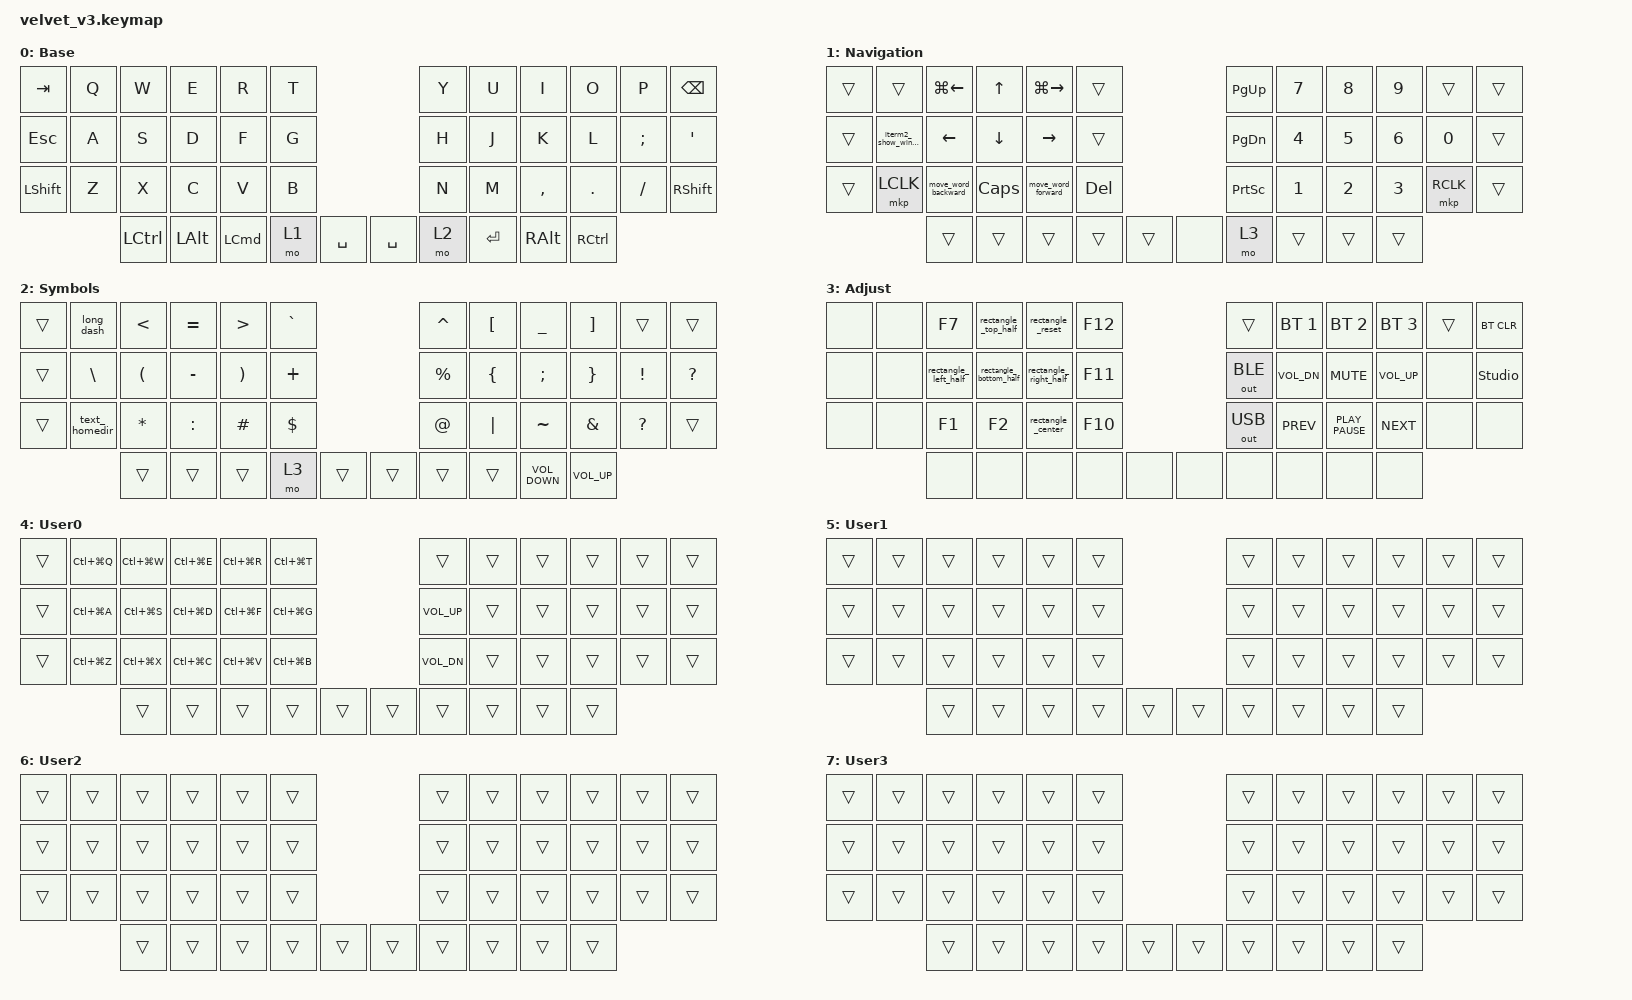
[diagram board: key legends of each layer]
#include "keys_ru.h"
#include <behaviors.dtsi>
#include <dt-bindings/zmk/bt.h>
#include <dt-bindings/zmk/keys.h>
#include <dt-bindings/zmk/outputs.h>
#include <dt-bindings/zmk/pointing.h>

/ {
    macros {
        text__homedir: text__homedir {
            compatible = "zmk,behavior-macro";
            #binding-cells = <0>;
            bindings = <&kp TILDE &kp FSLH>;
            label = "TEXT__HOMEDIR";
        };

        long_dash: long_dash {
            compatible = "zmk,behavior-macro";
            #binding-cells = <0>;
            bindings =
                <&macro_press>,
                <&kp LALT &kp LSHIFT>,
                <&macro_tap>,
                <&kp MINUS>,
                <&macro_release>,
                <&kp LSHIFT &kp LALT>;

            label = "LONG_DASH";
        };

        rectangle__left_half: rectangle__left_half {
            compatible = "zmk,behavior-macro";
            #binding-cells = <0>;
            bindings =
                <&macro_press>,
                <&kp LCTRL &kp LALT>,
                <&macro_tap>,
                <&kp LEFT_ARROW>,
                <&macro_release>,
                <&kp LALT &kp LCTRL>;

            label = "RECTANGLE__LEFT_HALF";
        };

        rectangle__bottom_half: rectangle__bottom_half {
            compatible = "zmk,behavior-macro";
            #binding-cells = <0>;
            bindings =
                <&macro_press>,
                <&kp LCTRL &kp LALT>,
                <&macro_tap>,
                <&kp DOWN_ARROW>,
                <&macro_release>,
                <&kp LALT &kp LCTRL>;

            label = "RECTANGLE__BOTTOM_HALF";
        };

        rectangle__right_half: rectangle__right_half {
            compatible = "zmk,behavior-macro";
            #binding-cells = <0>;
            bindings =
                <&macro_press>,
                <&kp LCTRL &kp LALT>,
                <&macro_tap>,
                <&kp RIGHT_ARROW>,
                <&macro_release>,
                <&kp LALT &kp LCTRL>;

            label = "RECTANGLE__RIGHT_HALF";
        };

        rectangle__top_half: rectangle__top_half {
            compatible = "zmk,behavior-macro";
            #binding-cells = <0>;
            bindings =
                <&macro_press>,
                <&kp LCTRL &kp LALT &kp LEFT_SHIFT>,
                <&macro_tap>,
                <&kp UP_ARROW>,
                <&macro_release>,
                <&kp LEFT_SHIFT &kp LALT &kp LCTRL>;

            label = "RECTANGLE__TOP_HALF";
        };

        rectangle__reset: rectangle__reset {
            compatible = "zmk,behavior-macro";
            #binding-cells = <0>;
            bindings =
                <&macro_press>,
                <&kp LCTRL &kp LALT>,
                <&macro_tap>,
                <&kp BACKSPACE>,
                <&macro_release>,
                <&kp LALT &kp LCTRL>;

            label = "RECTANGLE__RESET";
        };

        rectangle__center: rectangle__center {
            compatible = "zmk,behavior-macro";
            #binding-cells = <0>;
            bindings =
                <&macro_press>,
                <&kp LCTRL &kp LALT>,
                <&macro_tap>,
                <&kp V>,
                <&macro_release>,
                <&kp LALT &kp LCTRL>;

            label = "RECTANGLE__CENTER";
        };

        iterm2__show_window: iterm2__show_window {
            compatible = "zmk,behavior-macro";
            #binding-cells = <0>;
            bindings =
                <&macro_press>,
                <&kp LCTRL &kp LALT>,
                <&macro_tap>,
                <&kp SPACE>,
                <&macro_release>,
                <&kp LALT &kp LCTRL>;

            label = "ITERM2__SHOW_WINDOW";
        };

        move_word_backward: move_word_back {
            compatible = "zmk,behavior-macro";
            #binding-cells = <0>;
            bindings =
                <&macro_press>,
                <&kp LALT>,
                <&macro_tap>,
                <&kp LEFT_ARROW>,
                <&macro_release>,
                <&kp LALT>;

            label = "MOVE_WORD_BACK";
        };

        move_word_forward: move_word_forward {
            compatible = "zmk,behavior-macro";
            #binding-cells = <0>;
            bindings =
                <&macro_press>,
                <&kp LALT>,
                <&macro_tap>,
                <&kp RIGHT_ARROW>,
                <&macro_release>,
                <&kp LALT>;

            label = "MOVE_WORD_FORWARD";
        };
    };

    combos {
        compatible = "zmk,combos";

        layer4 {
            bindings = <&mo 4>;
            key-positions = <39 41>;
        };

        layer4_by_spaces {
            bindings = <&mo 4>;
            key-positions = <40 41>;
        };
    };

    keymap {
        compatible = "zmk,keymap";

        base {
            bindings = <
&kp TAB    &kp Q  &kp W      &kp E     &kp R     &kp T                          &kp Y  &kp U      &kp I      &kp O      &kp P      &kp BSPC
&kp ESC    &kp A  &kp S      &kp D     &kp F     &kp G                          &kp H  &kp J      &kp K      &kp L      &kp SEMI   &kp SINGLE_QUOTE
&kp LSHFT  &kp Z  &kp X      &kp C     &kp V     &kp B                          &kp N  &kp M      &kp COMMA  &kp DOT    &kp SLASH  &kp RSHFT
                  &kp LCTRL  &kp LALT  &kp LCMD  &mo 1  &kp SPACE    &kp SPACE  &mo 2  &kp ENTER  &kp RALT   &kp RCTRL
            >;

            display-name = "Base";
        };

        nav {
            bindings = <
&trans  &trans                &kp LG(LEFT_ARROW)   &kp UP_ARROW  &kp LG(RIGHT_ARROW)  &trans                       &kp PAGE_UP      &kp N7        &kp N8        &kp N9        &trans        &trans
&trans  &iterm2__show_window  &kp LEFT             &kp DOWN      &kp RIGHT            &trans                       &kp PAGE_DOWN    &kp NUMBER_4  &kp NUMBER_5  &kp NUMBER_6  &kp NUMBER_0  &trans
&trans  &mkp LCLK             &move_word_backward  &kp CAPSLOCK  &move_word_forward   &kp DELETE                   &kp PRINTSCREEN  &kp NUMBER_1  &kp NUMBER_2  &kp NUMBER_3  &mkp RCLK     &trans
                              &trans               &trans        &trans               &trans      &trans    &none  &mo 3            &trans        &trans        &trans
            >;

            display-name = "Navigation";
        };

        sym {
            bindings = <
&trans  &long_dash      &kp LT    &kp EQUAL  &kp GT    &kp GRAVE                    &kp CARET  &kp LEFT_BRACKET  &kp UNDER          &kp RIGHT_BRACKET  &trans     &trans
&trans  &kp BSLH        &kp LPAR  &kp MINUS  &kp RPAR  &kp PLUS                     &kp PRCNT  &kp LBRC          &kp SEMI           &kp RBRC           &kp EXCL   &kp QUESTION
&trans  &text__homedir  &kp STAR  &kp COLON  &kp HASH  &kp DLLR                     &kp AT     &kp PIPE          &kp TILDE          &kp AMPS           &kp QMARK  &trans
                        &trans    &trans     &trans    &mo 3      &trans    &trans  &trans     &trans            &kp C_VOLUME_DOWN  &kp C_VOLUME_UP
            >;

            display-name = "Symbols";
        };

        adj {
            bindings = <
&none  &none  &kp F7                 &rectangle__top_half     &rectangle__reset       &kp F12                  &trans        &bt BT_SEL 1  &bt BT_SEL 2      &bt BT_SEL 3  &trans  &bt BT_CLR
&none  &none  &rectangle__left_half  &rectangle__bottom_half  &rectangle__right_half  &kp F11                  &out OUT_BLE  &kp C_VOL_DN  &kp K_MUTE        &kp C_VOL_UP  &none   &studio_unlock
&none  &none  &kp F1                 &kp F2                   &rectangle__center      &kp F10                  &out OUT_USB  &kp K_PREV    &kp K_PLAY_PAUSE  &kp K_NEXT    &none   &none
              &none                  &none                    &none                   &none    &none    &none  &none         &none         &none             &none
            >;

            display-name = "Adjust";
        };

        User0 {
            bindings = <
&trans  &kp LC(LG(Q))  &kp LC(LG(W))  &kp LC(LG(E))  &kp LC(LG(R))  &kp LC(LG(T))                    &trans           &trans  &trans  &trans  &trans  &trans
&trans  &kp LC(LG(A))  &kp LC(LG(S))  &kp LC(LG(D))  &kp LC(LG(F))  &kp LC(LG(G))                    &kp C_VOLUME_UP  &trans  &trans  &trans  &trans  &trans
&trans  &kp LC(LG(Z))  &kp LC(LG(X))  &kp LC(LG(C))  &kp LC(LG(V))  &kp LC(LG(B))                    &kp C_VOL_DN     &trans  &trans  &trans  &trans  &trans
                       &trans         &trans         &trans         &trans         &trans    &trans  &trans           &trans  &trans  &trans
            >;

            display-name = "User0";
        };

        User1 {
            bindings = <
&trans  &trans  &trans  &trans  &trans  &trans                    &trans  &trans  &trans  &trans  &trans  &trans
&trans  &trans  &trans  &trans  &trans  &trans                    &trans  &trans  &trans  &trans  &trans  &trans
&trans  &trans  &trans  &trans  &trans  &trans                    &trans  &trans  &trans  &trans  &trans  &trans
                &trans  &trans  &trans  &trans  &trans    &trans  &trans  &trans  &trans  &trans
            >;

            display-name = "User1";
        };

        User2 {
            bindings = <
&trans  &trans  &trans  &trans  &trans  &trans                    &trans  &trans  &trans  &trans  &trans  &trans
&trans  &trans  &trans  &trans  &trans  &trans                    &trans  &trans  &trans  &trans  &trans  &trans
&trans  &trans  &trans  &trans  &trans  &trans                    &trans  &trans  &trans  &trans  &trans  &trans
                &trans  &trans  &trans  &trans  &trans    &trans  &trans  &trans  &trans  &trans
            >;

            display-name = "User2";
        };

        User3 {
            bindings = <
&trans  &trans  &trans  &trans  &trans  &trans                    &trans  &trans  &trans  &trans  &trans  &trans
&trans  &trans  &trans  &trans  &trans  &trans                    &trans  &trans  &trans  &trans  &trans  &trans
&trans  &trans  &trans  &trans  &trans  &trans                    &trans  &trans  &trans  &trans  &trans  &trans
                &trans  &trans  &trans  &trans  &trans    &trans  &trans  &trans  &trans  &trans
            >;

            display-name = "User3";
        };
    };
};
